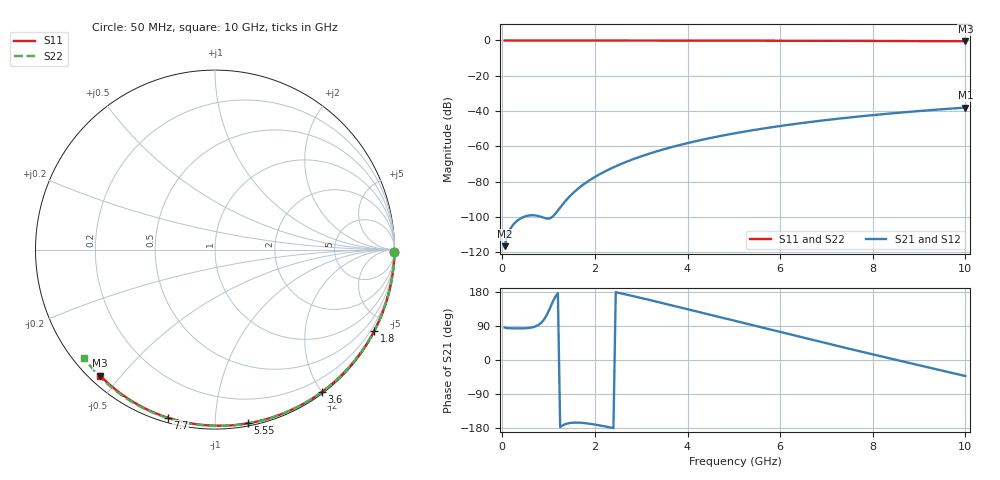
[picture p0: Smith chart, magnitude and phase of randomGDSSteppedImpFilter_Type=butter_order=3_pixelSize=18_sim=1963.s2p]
! freq	dB(S11)	phase(S11)	dB(S12)	phase(S12)
!  dB(S21)	phase(S21)	dB(S22)	phase(S22)
!S-par simulation data
#  GHz  S  DB  R 50
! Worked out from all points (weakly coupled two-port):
!   200 points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, 50 MHz to 10 GHz, reference 50 ohm
!   highest |S21| = -38.05 dB at 10 GHz (marker M1); lowest = -116.6 dB at 50 MHz (marker M2)
!   lowest |S11| = -0.4 dB at 10 GHz (marker M3), VSWR 38.84, Z = 1.54 - j22.1 ohm
!   |S11| at or under -10 dB: nowhere
!   |S22| runs from -0.5 to 0.0 dB; largest |S21 - S12| = 0
!   S11 on the Smith chart (normalised r, x): 50 MHz: open; 1.8 GHz: 0.04, -4.14; 3.6 GHz: 0.02, -2.00; 5.55 GHz: 0.02, -1.21; 7.7 GHz: 0.02, -0.76; 10 GHz: 0.03, -0.44
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0.05  -0.00 -0.8  -116.60 85.8  -116.60 85.8  -0.00 -0.8
0.45  -0.01 -6.9  -100.16 83.4  -100.16 83.4  -0.01 -7.3
0.9  -0.02 -13.7  -100.55 106.7  -100.55 106.7  -0.02 -14.6
1.75  -0.03 -26.4  -81.69 -166.2  -81.69 -166.2  -0.04 -28.1
1.8  -0.03 -27.2  -80.74 -166.9  -80.74 -166.9  -0.04 -28.9
1.85  -0.04 -27.9  -79.85 -167.6  -79.85 -167.6  -0.04 -29.7
2  -0.04 -30.1  -77.37 -170.4  -77.37 -170.4  -0.04 -32.0
2.15  -0.04 -32.3  -75.14 -173.6  -75.14 -173.6  -0.04 -34.4
2.35  -0.05 -35.2  -72.51 -178.5  -72.51 -178.5  -0.05 -37.5
2.55  -0.05 -38.2  -70.16 176.2  -70.16 176.2  -0.05 -40.6
2.95  -0.06 -43.9  -66.13 165.0  -66.13 165.0  -0.06 -46.7
3.4  -0.07 -50.3  -62.34 151.9  -62.34 151.9  -0.07 -53.4
3.6  -0.07 -53.1  -60.86 146.0  -60.86 146.0  -0.08 -56.4
4.3  -0.09 -62.7  -56.37 124.9  -56.37 124.9  -0.09 -66.6
5.05  -0.11 -72.8  -52.48 102.3  -52.48 102.3  -0.12 -77.2
5.55  -0.13 -79.3  -50.27 87.2  -50.27 87.2  -0.14 -84.1
6.1  -0.15 -86.3  -48.12 70.8  -48.12 70.8  -0.16 -91.5
6.7  -0.18 -93.7  -46.05 52.9  -46.05 52.9  -0.19 -99.3
7.7  -0.24 -105.8  -43.10 23.5  -43.10 23.5  -0.26 -112.1
8.35  -0.29 -113.4  -41.47 4.7  -41.47 4.7  -0.31 -120.2
9.2  -0.36 -123.2  -39.59 -19.6  -39.59 -19.6  -0.39 -130.7
10  -0.45 -132.3  -38.05 -42.3  -38.05 -42.3  -0.48 -140.5
